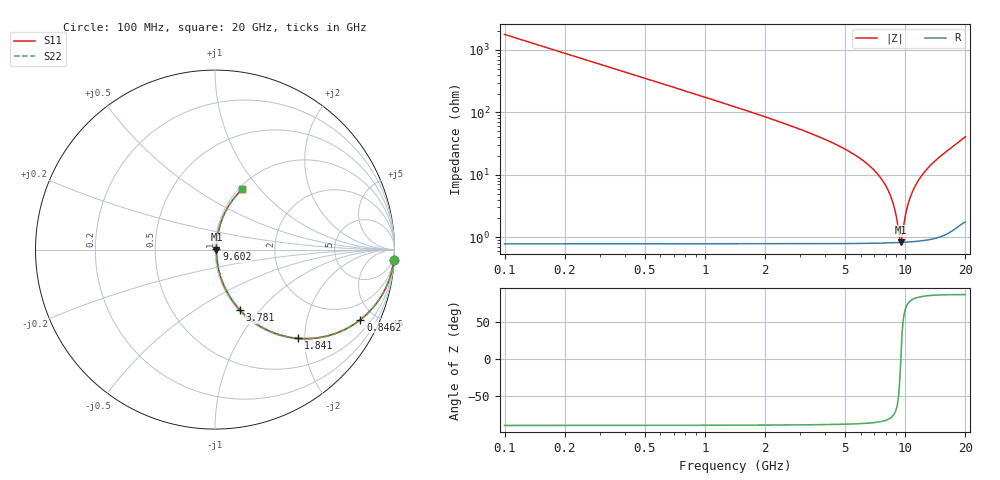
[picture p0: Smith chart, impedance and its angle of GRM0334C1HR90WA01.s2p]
!Murata Part Number: GRM0334C1HR90WA01
!These Parameters are Measured in Series Mode Connection
!Data Generated on Mar 30, 2021
!  o--ll--o
!Port1  Port2
!  o------o
!Operation Temp=25[degC], DC Bias Voltage=0[V]
!Freq. Start=100[MHz] Stop=20[GHz] 401[Steps]
# Hz S RI R 50
!Freq.(Hz) S11(Real) S11(Imag) S21(Real) S21(Imag) S12(Real) S12(Imag) S22(Real) S22(Imag)
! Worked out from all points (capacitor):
!   401 points, 100 MHz to 20 GHz, reference 50 ohm
!   read as one part in series: C = 900 fF near 199.5 MHz
!   lowest |Z| = 824 mohm at 9.503 GHz (marker M1)
!   series resonance near 9.516 GHz, so ESL is about 310 pH
!   S11 on the Smith chart (normalised r, x): 100 MHz: 1, -35; 846.2 MHz: 1.02, -4.15; 1.841 GHz: 1.02, -1.85; 3.781 GHz: 1.02, -0.79; 9.602 GHz: 1.02, +0.01; 20 GHz: 1.03, +0.81
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1e8  0.9968 -0.0564  0.00321 0.0564  0.00321 0.0564  0.9968 -0.0564
2.99e8  0.9719 -0.1645  0.0281 0.1645  0.0281 0.1645  0.9719 -0.1645
3.985e8  0.9512 -0.2146  0.0488 0.2146  0.0488 0.2146  0.9512 -0.2146
8.4625e8  0.8104 -0.3901  0.1896 0.3901  0.1896 0.3901  0.8104 -0.3901
1.294e9  0.6423 -0.4764  0.3577 0.4764  0.3577 0.4764  0.6423 -0.4764
1.84125e9  0.4618 -0.4943  0.5382 0.4943  0.5382 0.4943  0.4618 -0.4943
2.5875e9  0.2894 -0.4474  0.7106 0.4474  0.7106 0.4474  0.2894 -0.4474
3.43325e9  0.1727 -0.3694  0.8273 0.3694  0.8273 0.3694  0.1727 -0.3694
3.7815e9  0.1404 -0.3377  0.8596 0.3377  0.8596 0.3377  0.1404 -0.3377
6.7665e9  0.0245 -0.1273  0.9755 0.1273  0.9755 0.1273  0.0245 -0.1273
7.7615e9  0.0139 -0.0764  0.9861 0.0764  0.9861 0.0764  0.0139 -0.0764
8.458e9  0.01 -0.0444  0.99 0.0444  0.99 0.0444  0.01 -0.0444
8.90575e9  0.00872 -0.025  0.9913 0.025  0.9913 0.025  0.00872 -0.025
9.40325e9  0.00816 -0.00451  0.9918 0.00451  0.9918 0.00451  0.00816 -0.00451
9.50275e9  0.00816 -0.000515  0.9918 0.000515  0.9918 0.000515  0.00816 -0.000515
9.60225e9  0.00818 0.00345  0.9918 -0.00345  0.9918 -0.00345  0.00818 0.00345
1.005e10  0.00867 0.0209  0.9913 -0.0209  0.9913 -0.0209  0.00867 0.0209
1.05475e10  0.00989 0.0395  0.9901 -0.0395  0.9901 -0.0395  0.00989 0.0395
1.1244e10  0.0127 0.0646  0.9873 -0.0646  0.9873 -0.0646  0.0127 0.0646
1.338325e10  0.0281 0.1358  0.9719 -0.1358  0.9719 -0.1358  0.0281 0.1358
1.67165e10  0.0727 0.2377  0.9273 -0.2377  0.9273 -0.2377  0.0727 0.2377
2e10  0.1519 0.338  0.8481 -0.338  0.8481 -0.338  0.1519 0.338
